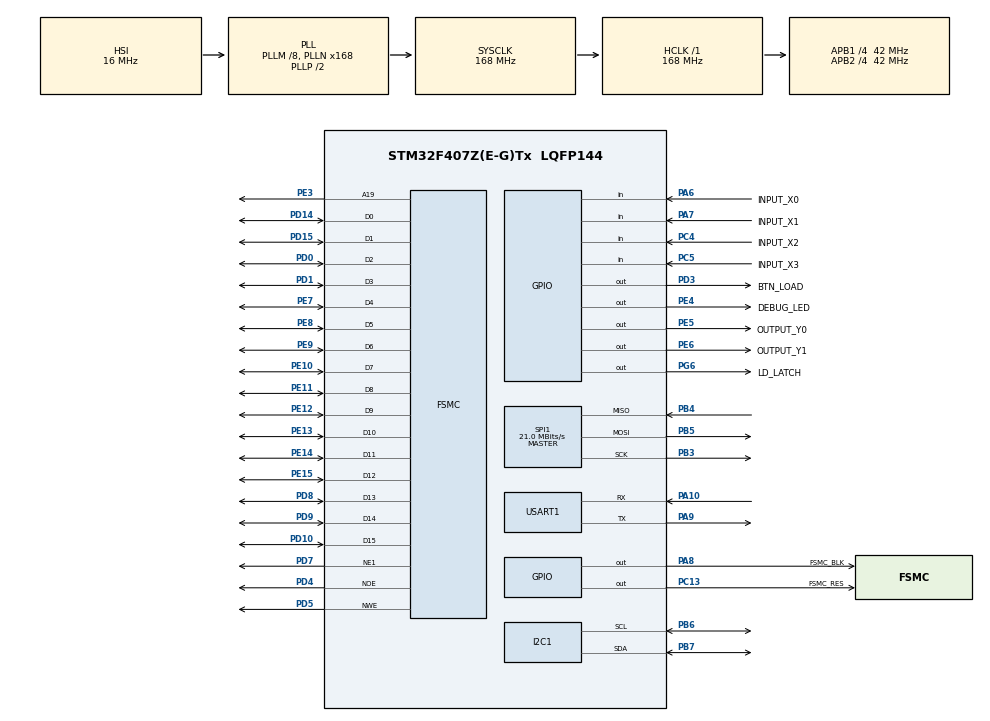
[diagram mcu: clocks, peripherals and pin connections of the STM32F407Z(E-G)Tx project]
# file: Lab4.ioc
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FSMC.AddressSetupTime1=0xf
FSMC.BusTurnAroundDuration1=0
FSMC.DataSetupTime1=60
FSMC.ExtendedAddressSetupTime1=8
FSMC.ExtendedBusTurnAroundDuration1=0
FSMC.ExtendedDataSetupTime1=9
FSMC.ExtendedMode1=FSMC_EXTENDED_MODE_ENABLE
Mcu.Family=STM32F4
Mcu.Name=STM32F407Z(E-G)Tx
Mcu.Package=LQFP144
NVIC.PriorityGroup=NVIC_PRIORITYGROUP_4
NVIC.TIM2_IRQn=true\:0\:0\:false\:false\:true\:true\:true
NVIC.USART1_IRQn=true\:0\:0\:false\:false\:true\:true\:true
PA10.Mode=Asynchronous
PA10.Signal=USART1_RX
PA13.Mode=Serial_Wire
PA13.Signal=SYS_JTMS-SWDIO
PA14.Mode=Serial_Wire
PA14.Signal=SYS_JTCK-SWCLK
PA6.GPIO_Label=INPUT_X0
PA6.Signal=GPIO_Input
PA7.GPIO_Label=INPUT_X1
PA7.Signal=GPIO_Input
PA8.GPIO_Label=FSMC_BLK
PA8.Signal=GPIO_Output
PA9.Mode=Asynchronous
PA9.Signal=USART1_TX
PB3.Mode=Full_Duplex_Master
PB3.Signal=SPI1_SCK
PB4.Mode=Full_Duplex_Master
PB4.Signal=SPI1_MISO
PB5.Mode=Full_Duplex_Master
PB5.Signal=SPI1_MOSI
PB6.Mode=I2C
PB6.Signal=I2C1_SCL
PB7.Mode=I2C
PB7.Signal=I2C1_SDA
PC13-ANTI_TAMP.GPIO_Label=FSMC_RES
PC13-ANTI_TAMP.Signal=GPIO_Output
PC4.GPIO_Label=INPUT_X2
PC4.Signal=GPIO_Input
PC5.GPIO_Label=INPUT_X3
PC5.Signal=GPIO_Input
PD0.Signal=FSMC_D2_DA2
PD1.Signal=FSMC_D3_DA3
PD10.Signal=FSMC_D15_DA15
PD14.Signal=FSMC_D0_DA0
PD15.Signal=FSMC_D1_DA1
PD3.GPIO_Label=BTN_LOAD
PD3.Signal=GPIO_Output
PD4.Signal=FSMC_NOE
PD5.Signal=FSMC_NWE
PD7.Mode=NorPsramChipSelect1_1
PD7.Signal=FSMC_NE1
PD8.Signal=FSMC_D13_DA13
PD9.Signal=FSMC_D14_DA14
PE10.Signal=FSMC_D7_DA7
PE11.Signal=FSMC_D8_DA8
PE12.Signal=FSMC_D9_DA9
PE13.Signal=FSMC_D10_DA10
PE14.Signal=FSMC_D11_DA11
PE15.Signal=FSMC_D12_DA12
PE3.Signal=FSMC_A19
PE4.GPIO_Label=DEBUG_LED
PE4.Signal=GPIO_Output
PE5.GPIO_Label=OUTPUT_Y0
PE5.Signal=GPIO_Output
PE6.GPIO_Label=OUTPUT_Y1
PE6.Signal=GPIO_Output
PE7.Signal=FSMC_D4_DA4
PE8.Signal=FSMC_D5_DA5
PE9.Signal=FSMC_D6_DA6
PG6.GPIO_Label=LD_LATCH
PG6.Signal=GPIO_Output
PH0-OSC_IN.Mode=HSE-External-Oscillator
PH0-OSC_IN.Signal=RCC_OSC_IN
PH1-OSC_OUT.Mode=HSE-External-Oscillator
PH1-OSC_OUT.Signal=RCC_OSC_OUT
ProjectManager.HeapSize=0x200
ProjectManager.StackSize=0x400
ProjectManager.TargetToolchain=STM32CubeIDE
RCC.48MHZClocksFreq_Value=84000000
RCC.AHBFreq_Value=168000000
RCC.APB1CLKDivider=RCC_HCLK_DIV4
RCC.APB1Freq_Value=42000000
RCC.APB1TimFreq_Value=84000000
RCC.APB2CLKDivider=RCC_HCLK_DIV4
RCC.APB2Freq_Value=42000000
RCC.APB2TimFreq_Value=84000000
RCC.CortexFreq_Value=168000000
RCC.HCLKFreq_Value=168000000
RCC.HSE_VALUE=8000000
RCC.HSI_VALUE=16000000
RCC.LSE_VALUE=32768
RCC.PLLM=8
RCC.PLLN=168
RCC.SYSCLKFreq_VALUE=168000000
RCC.SYSCLKSource=RCC_SYSCLKSOURCE_PLLCLK
RCC.VCOOutputFreq_Value=336000000
SH.FSMC_A19.0=FSMC_A19,A19_1
SH.FSMC_D0_DA0.0=FSMC_D0,16b-d1
SH.FSMC_D10_DA10.0=FSMC_D10,16b-d1
SH.FSMC_D11_DA11.0=FSMC_D11,16b-d1
SH.FSMC_D12_DA12.0=FSMC_D12,16b-d1
SH.FSMC_D13_DA13.0=FSMC_D13,16b-d1
SH.FSMC_D14_DA14.0=FSMC_D14,16b-d1
SH.FSMC_D15_DA15.0=FSMC_D15,16b-d1
SH.FSMC_D1_DA1.0=FSMC_D1,16b-d1
SH.FSMC_D2_DA2.0=FSMC_D2,16b-d1
SH.FSMC_D3_DA3.0=FSMC_D3,16b-d1
SH.FSMC_D4_DA4.0=FSMC_D4,16b-d1
SH.FSMC_D5_DA5.0=FSMC_D5,16b-d1
SH.FSMC_D6_DA6.0=FSMC_D6,16b-d1
SH.FSMC_D7_DA7.0=FSMC_D7,16b-d1
SH.FSMC_D8_DA8.0=FSMC_D8,16b-d1
SH.FSMC_D9_DA9.0=FSMC_D9,16b-d1
SH.FSMC_NOE.0=FSMC_NOE,Lcd1
SH.FSMC_NWE.0=FSMC_NWE,Lcd1
SPI1.CalculateBaudRate=21.0 MBits/s
SPI1.Direction=SPI_DIRECTION_2LINES
SPI1.Mode=SPI_MODE_MASTER
SPI1.VirtualType=VM_MASTER
TIM2.Period=100-1
TIM2.Prescaler=1680-1
USART1.VirtualMode=VM_ASYNC
VP_TIM2_VS_ClockSourceINT.Mode=Internal
board=custom

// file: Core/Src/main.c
/* USER CODE BEGIN Header */
/**
  ******************************************************************************
  * @file           : main.c
  * @brief          : Main program body
  ******************************************************************************
  * @attention
  *
  * <h2><center>&copy; Copyright (c) 2023 STMicroelectronics.
  * All rights reserved.</center></h2>
  *
  * This software component is licensed by ST under BSD 3-Clause license,
  * the "License"; You may not use this file except in compliance with the
  * License. You may obtain a copy of the License at:
  *                        opensource.org/licenses/BSD-3-Clause
  *
  ******************************************************************************
  */
/* USER CODE END Header */
#include "main.h"
#include "i2c.h"
#include "spi.h"
#include "tim.h"
#include "usart.h"
#include "gpio.h"
#include "fsmc.h"

/* USER CODE BEGIN Includes */
#include "software_timer.h"
#include "led_7seg.h"
#include "button.h"
#include "lcd.h"
#include "picture.h"
#include "ds3231.h"
#include "uart.h"
#include "rtc_auto.h"
#include "rtc_adj.h"
#include "alarm_fsm.h"
/* USER CODE END Includes */

void SystemClock_Config(void);
/* USER CODE BEGIN PFP */
void system_init();
void test_LedDebug();
void test_Uart();
/* USER CODE END PFP */

int main(void)
{

  /* MCU Configuration--------------------------------------------------------*/

  /* Reset of all peripherals, Initializes the Flash interface and the Systick. */
  HAL_Init();

  /* Configure the system clock */
  SystemClock_Config();

  /* Initialize all configured peripherals */
  MX_GPIO_Init();
  MX_TIM2_Init();
  MX_SPI1_Init();
  MX_FSMC_Init();
  MX_USART1_UART_Init();
  MX_I2C1_Init();
  /* USER CODE BEGIN 2 */
  system_init();
  lcd_Clear(BLACK);
  /* USER CODE END 2 */

  /* Infinite loop */
  while (1)
  {
	  rtc_auto_fsm();
	  rtc_manual_fsm();
	  alarm_fsm();
  }
}

void SystemClock_Config(void)
{
  RCC_OscInitTypeDef RCC_OscInitStruct = {0};
  RCC_ClkInitTypeDef RCC_ClkInitStruct = {0};

  /** Configure the main internal regulator output voltage
  */
  __HAL_RCC_PWR_CLK_ENABLE();
  __HAL_PWR_VOLTAGESCALING_CONFIG(PWR_REGULATOR_VOLTAGE_SCALE1);
  /** Initializes the RCC Oscillators according to the specified parameters
  * in the RCC_OscInitTypeDef structure.
  */
  RCC_OscInitStruct.OscillatorType = RCC_OSCILLATORTYPE_HSI;
  RCC_OscInitStruct.HSIState = RCC_HSI_ON;
  RCC_OscInitStruct.HSICalibrationValue = RCC_HSICALIBRATION_DEFAULT;
  RCC_OscInitStruct.PLL.PLLState = RCC_PLL_ON;
  RCC_OscInitStruct.PLL.PLLSource = RCC_PLLSOURCE_HSI;
  RCC_OscInitStruct.PLL.PLLM = 8;
  RCC_OscInitStruct.PLL.PLLN = 168;
  RCC_OscInitStruct.PLL.PLLP = RCC_PLLP_DIV2;
  RCC_OscInitStruct.PLL.PLLQ = 4;
  if (HAL_RCC_OscConfig(&RCC_OscInitStruct) != HAL_OK)
  {
    Error_Handler();
  }
  /** Initializes the CPU, AHB and APB buses clocks
  */
  RCC_ClkInitStruct.ClockType = RCC_CLOCKTYPE_HCLK|RCC_CLOCKTYPE_SYSCLK
                              |RCC_CLOCKTYPE_PCLK1|RCC_CLOCKTYPE_PCLK2;
  RCC_ClkInitStruct.SYSCLKSource = RCC_SYSCLKSOURCE_PLLCLK;
  RCC_ClkInitStruct.AHBCLKDivider = RCC_SYSCLK_DIV1;
  RCC_ClkInitStruct.APB1CLKDivider = RCC_HCLK_DIV4;
  RCC_ClkInitStruct.APB2CLKDivider = RCC_HCLK_DIV4;

  if (HAL_RCC_ClockConfig(&RCC_ClkInitStruct, FLASH_LATENCY_5) != HAL_OK)
  {
    Error_Handler();
  }
}

/* USER CODE BEGIN 4 */
void system_init(){
	  HAL_GPIO_WritePin(OUTPUT_Y0_GPIO_Port, OUTPUT_Y0_Pin, 0);
	  HAL_GPIO_WritePin(OUTPUT_Y1_GPIO_Port, OUTPUT_Y1_Pin, 0);
	  HAL_GPIO_WritePin(DEBUG_LED_GPIO_Port, DEBUG_LED_Pin, 0);
	  timer_init();
	  led7_init();
	  button_init();
	  lcd_init();
	  uart_init_rs232();
	  ds3231_init();
	  setAutoTimer(100);
	  setClockTimer(50);
	  setblinkCLKnumTimer(50);
	  setAutoIncTimer(50);
	  setHoldButtonTimer(100);
}

uint16_t count_led_debug = 0;

void test_LedDebug(){
	count_led_debug = (count_led_debug + 1)%20;
	if(count_led_debug == 0){
		HAL_GPIO_TogglePin(DEBUG_LED_GPIO_Port, DEBUG_LED_Pin);
	}
}

void test_button(){
	for(int i = 0; i < 16; i++){
		if(button_count[i] == 1){
			led7_SetDigit(i/10, 2, 0);
			led7_SetDigit(i%10, 3, 0);
		}
	}
}

void test_Uart(){
	if(button_count[12] == 1){
		uart_Rs232SendNum(ds3231_hours);
		uart_Rs232SendString(":");
		uart_Rs232SendNum(ds3231_min);
		uart_Rs232SendString(":");
		uart_Rs232SendNum(ds3231_sec);
		uart_Rs232SendString("\n");
	}
}
/* USER CODE END 4 */

void Error_Handler(void)
{
  __disable_irq();
  while (1)
  {
  }
}

/************************ (C) COPYRIGHT STMicroelectronics *****END OF FILE****/
